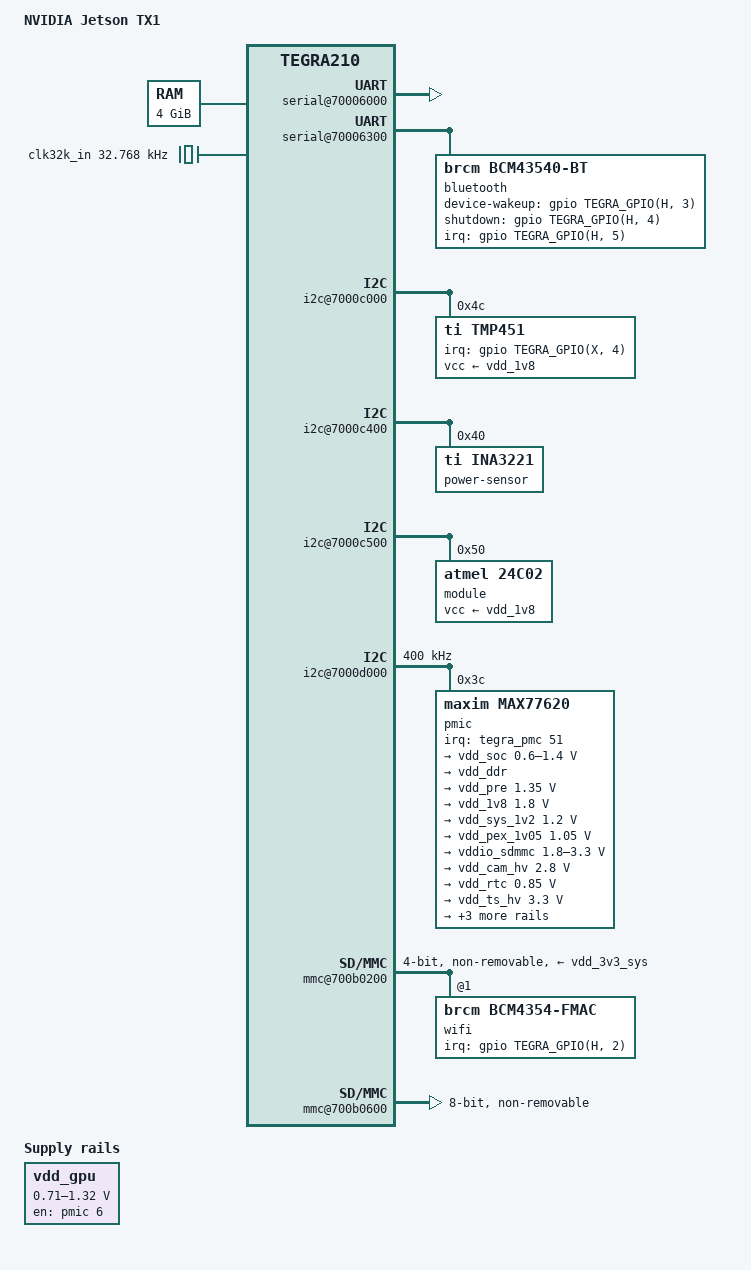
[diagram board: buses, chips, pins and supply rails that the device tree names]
// SPDX-License-Identifier: GPL-2.0
#include <dt-bindings/mfd/max77620.h>

#include "tegra210.dtsi"

/ {
	model = "NVIDIA Jetson TX1";
	compatible = "nvidia,p2180", "nvidia,tegra210";

	aliases {
		rtc0 = "/i2c@7000d000/pmic@3c";
		rtc1 = "/rtc@7000e000";
		serial0 = &uarta;
	};

	chosen {
		stdout-path = "serial0:115200n8";
	};

	memory@80000000 {
		device_type = "memory";
		reg = <0x0 0x80000000 0x1 0x0>;
	};

	gpu@57000000 {
		vdd-supply = <&vdd_gpu>;
	};

	/* debug port */
	serial@70006000 {
		/delete-property/ dmas;
		/delete-property/ dma-names;
		status = "okay";
	};

	serial@70006300 {
		/delete-property/ reg-shift;
		status = "okay";
		compatible = "nvidia,tegra30-hsuart";
		reset-names = "serial";

		bluetooth {
			compatible = "brcm,bcm43540-bt";
			device-wakeup-gpios = <&gpio TEGRA_GPIO(H, 3) GPIO_ACTIVE_HIGH>;
			shutdown-gpios = <&gpio TEGRA_GPIO(H, 4) GPIO_ACTIVE_HIGH>;
			interrupt-parent = <&gpio>;
			interrupts = <TEGRA_GPIO(H, 5) IRQ_TYPE_LEVEL_LOW>;
			interrupt-names = "host-wakeup";
		};
	};

	i2c@7000c000 {
		status = "okay";

		tmp451: temperature-sensor@4c {
			compatible = "ti,tmp451";
			reg = <0x4c>;
			interrupt-parent = <&gpio>;
			interrupts = <TEGRA_GPIO(X, 4) IRQ_TYPE_LEVEL_LOW>;
			vcc-supply = <&vdd_1v8>;
			#thermal-sensor-cells = <1>;
		};
	};

	i2c@7000c400 {
		status = "okay";

		power-sensor@40 {
			compatible = "ti,ina3221";
			reg = <0x40>;
			#address-cells = <1>;
			#size-cells = <0>;

			input@0 {
				reg = <0x0>;
				label = "VDD_IN";
				shunt-resistor-micro-ohms = <20000>;
			};

			input@1 {
				reg = <0x1>;
				label = "VDD_GPU";
				shunt-resistor-micro-ohms = <10000>;
			};

			input@2 {
				reg = <0x2>;
				label = "VDD_CPU";
				shunt-resistor-micro-ohms = <10000>;
			};
		};
	};

	i2c@7000c500 {
		status = "okay";

		/* module ID EEPROM */
		eeprom@50 {
			compatible = "atmel,24c02";
			reg = <0x50>;

			label = "module";
			vcc-supply = <&vdd_1v8>;
			address-width = <8>;
			pagesize = <8>;
			size = <256>;
			read-only;
		};
	};

	i2c@7000d000 {
		status = "okay";
		clock-frequency = <400000>;

		pmic: pmic@3c {
			compatible = "maxim,max77620";
			reg = <0x3c>;
			interrupt-parent = <&tegra_pmc>;
			interrupts = <51 IRQ_TYPE_LEVEL_LOW>;

			#interrupt-cells = <2>;
			interrupt-controller;

			#gpio-cells = <2>;
			gpio-controller;

			pinctrl-names = "default";
			pinctrl-0 = <&max77620_default>;

			fps {
				fps0 {
					maxim,fps-event-source = <MAX77620_FPS_EVENT_SRC_EN0>;
					maxim,suspend-fps-time-period-us = <1280>;
				};

				fps1 {
					maxim,fps-event-source = <MAX77620_FPS_EVENT_SRC_EN1>;
					maxim,suspend-fps-time-period-us = <1280>;
				};

				fps2 {
					maxim,fps-event-source = <MAX77620_FPS_EVENT_SRC_EN0>;
				};
			};

			max77620_default: pinmux {
				gpio0 {
					pins = "gpio0";
					function = "gpio";
				};

				gpio1 {
					pins = "gpio1";
					function = "fps-out";
					drive-push-pull = <1>;
					maxim,active-fps-source = <MAX77620_FPS_SRC_0>;
					maxim,active-fps-power-up-slot = <7>;
					maxim,active-fps-power-down-slot = <0>;
				};

				gpio2_3 {
					pins = "gpio2", "gpio3";
					function = "fps-out";
					drive-open-drain = <1>;
					maxim,active-fps-source = <MAX77620_FPS_SRC_0>;
				};

				gpio4 {
					pins = "gpio4";
					function = "32k-out1";
				};

				gpio5_6_7 {
					pins = "gpio5", "gpio6", "gpio7";
					function = "gpio";
					drive-push-pull = <1>;
				};
			};

			regulators {
				in-ldo0-1-supply = <&vdd_pre>;
				in-ldo7-8-supply = <&vdd_pre>;
				in-sd3-supply = <&vdd_5v0_sys>;

				vdd_soc: sd0 {
					regulator-name = "VDD_SOC";
					regulator-min-microvolt = <600000>;
					regulator-max-microvolt = <1400000>;
					regulator-always-on;
					regulator-boot-on;

					regulator-enable-ramp-delay = <146>;
					regulator-ramp-delay = <27500>;

					maxim,active-fps-source = <MAX77620_FPS_SRC_1>;
				};

				vdd_ddr: sd1 {
					regulator-name = "VDD_DDR_1V1_PMIC";
					regulator-always-on;
					regulator-boot-on;

					regulator-enable-ramp-delay = <130>;
					regulator-ramp-delay = <27500>;

					maxim,active-fps-source = <MAX77620_FPS_SRC_0>;
				};

				vdd_pre: sd2 {
					regulator-name = "VDD_PRE_REG_1V35";
					regulator-min-microvolt = <1350000>;
					regulator-max-microvolt = <1350000>;

					regulator-enable-ramp-delay = <176>;
					regulator-ramp-delay = <27500>;

					maxim,active-fps-source = <MAX77620_FPS_SRC_1>;
				};

				vdd_1v8: sd3 {
					regulator-name = "VDD_1V8";
					regulator-min-microvolt = <1800000>;
					regulator-max-microvolt = <1800000>;
					regulator-always-on;
					regulator-boot-on;

					regulator-enable-ramp-delay = <242>;
					regulator-ramp-delay = <27500>;

					maxim,active-fps-source = <MAX77620_FPS_SRC_0>;
				};

				vdd_sys_1v2: ldo0 {
					regulator-name = "AVDD_SYS_1V2";
					regulator-min-microvolt = <1200000>;
					regulator-max-microvolt = <1200000>;
					regulator-always-on;
					regulator-boot-on;

					regulator-enable-ramp-delay = <26>;
					regulator-ramp-delay = <100000>;

					maxim,active-fps-source = <MAX77620_FPS_SRC_NONE>;
				};

				vdd_pex_1v05: ldo1 {
					regulator-name = "VDD_PEX_1V05";
					regulator-min-microvolt = <1050000>;
					regulator-max-microvolt = <1050000>;

					regulator-enable-ramp-delay = <22>;
					regulator-ramp-delay = <100000>;

					maxim,active-fps-source = <MAX77620_FPS_SRC_1>;
				};

				vddio_sdmmc: ldo2 {
					regulator-name = "VDDIO_SDMMC";
					regulator-min-microvolt = <1800000>;
					regulator-max-microvolt = <3300000>;
					regulator-always-on;
					regulator-boot-on;

					regulator-enable-ramp-delay = <62>;
					regulator-ramp-delay = <100000>;

					maxim,active-fps-source = <MAX77620_FPS_SRC_NONE>;
				};

				vdd_cam_hv: ldo3 {
					regulator-name = "VDD_CAM_HV";
					regulator-min-microvolt = <2800000>;
					regulator-max-microvolt = <2800000>;

					regulator-enable-ramp-delay = <50>;
					regulator-ramp-delay = <100000>;

					maxim,active-fps-source = <MAX77620_FPS_SRC_NONE>;
				};

				vdd_rtc: ldo4 {
					regulator-name = "VDD_RTC";
					regulator-min-microvolt = <850000>;
					regulator-max-microvolt = <850000>;
					regulator-always-on;
					regulator-boot-on;

					regulator-enable-ramp-delay = <22>;
					regulator-ramp-delay = <100000>;

					maxim,active-fps-source = <MAX77620_FPS_SRC_0>;
				};

				vdd_ts_hv: ldo5 {
					regulator-name = "VDD_TS_HV";
					regulator-min-microvolt = <3300000>;
					regulator-max-microvolt = <3300000>;

					regulator-enable-ramp-delay = <62>;
					regulator-ramp-delay = <100000>;

					maxim,active-fps-source = <MAX77620_FPS_SRC_NONE>;
				};

				vdd_ts: ldo6 {
					regulator-name = "VDD_TS_1V8";
					regulator-min-microvolt = <1800000>;
					regulator-max-microvolt = <1800000>;

					regulator-enable-ramp-delay = <36>;
					regulator-ramp-delay = <100000>;

					maxim,active-fps-source = <MAX77620_FPS_SRC_0>;
					maxim,active-fps-power-up-slot = <7>;
					maxim,active-fps-power-down-slot = <0>;
				};

				avdd_1v05_pll: ldo7 {
					regulator-name = "AVDD_1V05_PLL";
					regulator-min-microvolt = <1050000>;
					regulator-max-microvolt = <1050000>;
					regulator-always-on;
					regulator-boot-on;

					regulator-enable-ramp-delay = <24>;
					regulator-ramp-delay = <100000>;

					maxim,active-fps-source = <MAX77620_FPS_SRC_1>;
				};

				avdd_1v05: ldo8 {
					regulator-name = "AVDD_SATA_HDMI_DP_1V05";
					regulator-min-microvolt = <1050000>;
					regulator-max-microvolt = <1050000>;

					regulator-enable-ramp-delay = <22>;
					regulator-ramp-delay = <100000>;

					maxim,active-fps-source = <MAX77620_FPS_SRC_1>;
				};
			};
		};
	};

	pmc@7000e400 {
		nvidia,invert-interrupt;
		nvidia,suspend-mode = <0>;
		nvidia,cpu-pwr-good-time = <0>;
		nvidia,cpu-pwr-off-time = <0>;
		nvidia,core-pwr-good-time = <4587 3876>;
		nvidia,core-pwr-off-time = <39065>;
		nvidia,core-power-req-active-high;
		nvidia,sys-clock-req-active-high;
	};

	mmc@700b0200 {
		status = "okay";
		bus-width = <4>;
		non-removable;
		power-gpios = <&gpio TEGRA_GPIO(H, 0) GPIO_ACTIVE_HIGH>;
		vqmmc-supply = <&vdd_1v8>;
		vmmc-supply = <&vdd_3v3_sys>;
		#address-cells = <1>;
		#size-cells = <0>;

		wifi@1 {
			compatible = "brcm,bcm4354-fmac", "brcm,bcm4329-fmac";
			reg = <1>;
			interrupt-parent = <&gpio>;
			interrupts = <TEGRA_GPIO(H, 2) IRQ_TYPE_LEVEL_HIGH>;
			interrupt-names = "host-wake";
		};
	};

	/* eMMC */
	mmc@700b0600 {
		status = "okay";
		bus-width = <8>;
		non-removable;
		vqmmc-supply = <&vdd_1v8>;
	};

	clk32k_in: clock-32k {
		compatible = "fixed-clock";
		clock-frequency = <32768>;
		#clock-cells = <0>;
	};

	cpus {
		cpu@0 {
			enable-method = "psci";
		};

		cpu@1 {
			enable-method = "psci";
		};

		cpu@2 {
			enable-method = "psci";
		};

		cpu@3 {
			enable-method = "psci";
		};

		idle-states {
			cpu-sleep {
				status = "okay";
			};
		};
	};

	psci {
		compatible = "arm,psci-0.2";
		method = "smc";
	};

	vdd_gpu: regulator-vdd-gpu {
		compatible = "pwm-regulator";
		pwms = <&pwm 1 8000>;
		regulator-name = "VDD_GPU";
		regulator-min-microvolt = <710000>;
		regulator-max-microvolt = <1320000>;
		enable-gpios = <&pmic 6 GPIO_ACTIVE_HIGH>;
		regulator-ramp-delay = <80>;
		regulator-enable-ramp-delay = <2000>;
		regulator-settling-time-us = <160>;
	};
};
